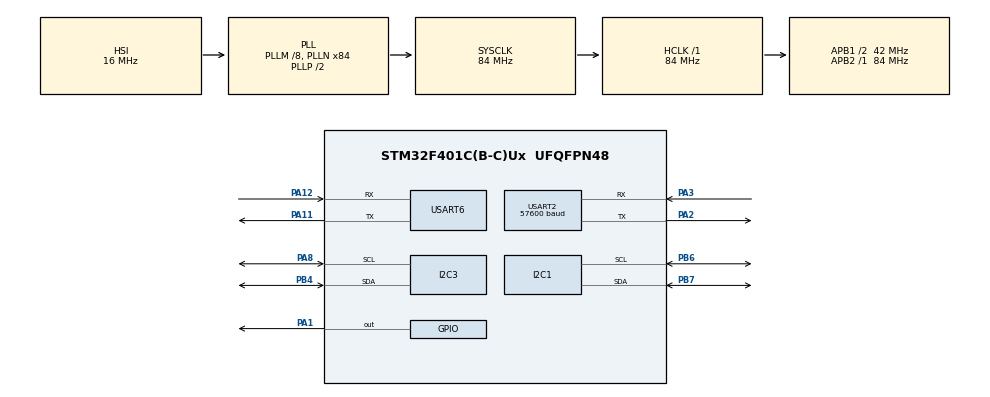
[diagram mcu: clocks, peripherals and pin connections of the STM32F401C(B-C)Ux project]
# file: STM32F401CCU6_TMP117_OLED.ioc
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I2C1.I2C_Mode=I2C_Fast
Mcu.Family=STM32F4
Mcu.Name=STM32F401C(B-C)Ux
Mcu.Package=UFQFPN48
NVIC.PriorityGroup=NVIC_PRIORITYGROUP_4
NVIC.USART2_IRQn=true\:1\:0\:true\:false\:true\:true\:true\:true
NVIC.USART6_IRQn=true\:0\:0\:true\:false\:true\:true\:true\:true
PA1.PinState=GPIO_PIN_SET
PA1.Signal=GPIO_Output
PA11.Mode=Asynchronous
PA11.Signal=USART6_TX
PA12.Mode=Asynchronous
PA12.Signal=USART6_RX
PA13.Mode=Serial_Wire
PA13.Signal=SYS_JTMS-SWDIO
PA14.Mode=Serial_Wire
PA14.Signal=SYS_JTCK-SWCLK
PA2.Mode=Asynchronous
PA2.Signal=USART2_TX
PA3.Mode=Asynchronous
PA3.Signal=USART2_RX
PA8.Mode=I2C
PA8.Signal=I2C3_SCL
PB4.Mode=I2C
PB4.Signal=I2C3_SDA
PB6.Mode=I2C
PB6.Signal=I2C1_SCL
PB7.Mode=I2C
PB7.Signal=I2C1_SDA
PH0\ -\ OSC_IN.Mode=HSE-External-Oscillator
PH0\ -\ OSC_IN.Signal=RCC_OSC_IN
PH1\ -\ OSC_OUT.Mode=HSE-External-Oscillator
PH1\ -\ OSC_OUT.Signal=RCC_OSC_OUT
ProjectManager.HeapSize=0x200
ProjectManager.StackSize=0x400
ProjectManager.TargetToolchain=MDK-ARM V5.32
RCC.48MHZClocksFreq_Value=42000000
RCC.AHBFreq_Value=84000000
RCC.APB1CLKDivider=RCC_HCLK_DIV2
RCC.APB1Freq_Value=42000000
RCC.APB1TimFreq_Value=84000000
RCC.APB2Freq_Value=84000000
RCC.APB2TimFreq_Value=84000000
RCC.CortexFreq_Value=84000000
RCC.HCLKFreq_Value=84000000
RCC.HSE_VALUE=25000000
RCC.HSI_VALUE=16000000
RCC.LSE_VALUE=32768
RCC.PLLM=8
RCC.PLLN=84
RCC.SYSCLKFreq_VALUE=84000000
RCC.SYSCLKSource=RCC_SYSCLKSOURCE_PLLCLK
RCC.VCOOutputFreq_Value=168000000
USART2.BaudRate=57600
USART2.VirtualMode=VM_ASYNC
USART6.VirtualMode=VM_ASYNC
board=custom

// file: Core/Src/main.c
/* USER CODE BEGIN Header */
/**
 ******************************************************************************
 * @file           : main.c
 * @brief          : 调温服 V4.1
 ******************************************************************************
 */
/* USER CODE END Header */
#include "main.h"
#include "i2c.h"
#include "usart.h"
#include "gpio.h"

/* USER CODE BEGIN Includes */
#include "oled.h"
#include <string.h>
#include <stdlib.h>
/* USER CODE END Includes */

/* USER CODE BEGIN PTD */
// --- 命令类型枚举 (用于解析 M207 协议) ---
enum CMDTYPE
{
    CMDTYPE_SETTING,
    CMDTYPE_POLLING,
    CMDTYPE_SAVING,
    CMDTYPE_CHANGING,
    CMDTYPE_ERROR
};
/* USER CODE END PTD */

/* USER CODE BEGIN PD */
#define MAX_RX_LEN 64
/* USER CODE END PD */

/* USER CODE BEGIN PV */
// --- UART 接收相关全局变量 ---
char rx_buffer[MAX_RX_LEN];
uint8_t rx_index = 0;
uint8_t rx_byte;
uint8_t rx_flag = 0;
// 全局变量，记录uart6最后一次收到字节的时间
uint32_t uart6_last_rx_time = 0;
// UART6接收缓冲区大小
#define UART6_RX_BUF_SIZE 256
uint8_t uart6_rx_buf[UART6_RX_BUF_SIZE];
volatile uint16_t uart6_rx_len = 0;       // 已接收数据长度
volatile uint8_t uart6_rx_frame_flag = 0; // 一帧数据接收完成标志
// --- 核心温度数据全局变量 ---
float tc1_water_temp = 0.0f;      // 贴身水箱实际温度 (后台运行，不显示)
float tc2_water_temp = 0.0f;      // 环境水箱实际温度 (后台运行，不显示)
float tc1_water_temp_set = 25.0f; // 贴身水箱设定温度 (可通过电脑指令设置，后台运行)
float tc2_water_temp_set = 25.0f; // 环境水箱设定温度 (可通过电脑指令设置，后台运行)

// --- 调温控制参数 ---
float target_hot = 37.5f;      // 人体过热阈值
float target_cold = 36.5f;     // 人体过冷阈值
float hysteresis = 0.2f;       // 回差防抖
unsigned char display_buf[10]; // 替代 sprintf 的纯净显示缓存
int t_int, t_frac;
/* USER CODE END PV */

void SystemClock_Config(void);
/* USER CODE BEGIN PFP */
void Process_M207_Reply(void);
enum CMDTYPE ProtocolAnalysis(char *comstr, int comstrlength, char *modulestr, char *paramstr, char *valuestr);
void Send_M207_Cmd(char *cmd);
void Process_PCtoM207(void);
/* USER CODE END PFP */

int main(void)
{

    /* MCU Configuration--------------------------------------------------------*/

    /* Reset of all peripherals, Initializes the Flash interface and the Systick. */
    HAL_Init();

    /* Configure the system clock */
    SystemClock_Config();

    /* Initialize all configured peripherals */
    MX_GPIO_Init();
    MX_I2C1_Init();
    MX_I2C3_Init();
    MX_USART2_UART_Init();
    MX_USART6_UART_Init();
    /* USER CODE BEGIN 2 */

    ///__HAL_UART_ENABLE_IT(&huart6, UART_IT_IDLE);
    HAL_UART_Receive_IT(&huart6, &uart6_rx_buf[0], 1);

    // 1. 初始化 OLED 并清屏
    OLED_Init();
    OLED_CLS();

    // 第一行
    OLED_ShowCN(0, 0, 3);  // 设
    OLED_ShowCN(16, 0, 4); // 定
    OLED_ShowCN(32, 0, 0); // 温
    OLED_ShowCN(48, 0, 1); // 度
    OLED_ShowStr(64, 0, (unsigned char *)"1", 2);
    OLED_ShowStr(72, 0, (unsigned char *)":", 2);
    OLED_ShowCN(112, 0, 7); // ℃

    float temp = tc1_water_temp_set;
    if (temp < 0)
        temp = 0;                        // 负数保护，和参考逻辑完全一致，避免异常负温乱码
    t_int = (int)temp;                   // 拆分整数部分
    t_frac = (int)((temp - t_int) * 10); // 仅取1位小数

    display_buf[0] = (t_int / 10) + '0'; // 整数部分：十位
    display_buf[1] = (t_int % 10) + '0'; // 整数部分：个位
    display_buf[2] = '.';                // 小数点
    display_buf[3] = t_frac + '0';       // 小数部分：仅保留1位

    OLED_ShowStr(80, 0, display_buf, 2);

    // 第二行
    OLED_ShowCN(0, 2, 3);  // 设
    OLED_ShowCN(16, 2, 4); // 定
    OLED_ShowCN(32, 2, 0); // 温
    OLED_ShowCN(48, 2, 1); // 度
    OLED_ShowStr(64, 2, (unsigned char *)"2", 2);
    OLED_ShowStr(72, 2, (unsigned char *)":", 2);
    OLED_ShowCN(112, 2, 7); // ℃
    temp = tc2_water_temp_set;
    if (temp < 0)
        temp = 0;
    t_int = (int)temp;
    t_frac = (int)((temp - t_int) * 10);

    // 填充TC2的显示缓冲区
    display_buf[0] = (t_int / 10) + '0';
    display_buf[1] = (t_int % 10) + '0';
    display_buf[2] = '.';
    display_buf[3] = t_frac + '0';

    // 显示TC2：
    OLED_ShowStr(80, 2, display_buf, 2);

    // 第三行
    OLED_ShowCN(0, 4, 5);  // 实
    OLED_ShowCN(16, 4, 6); // 际
    OLED_ShowCN(32, 4, 0); // 温
    OLED_ShowCN(48, 4, 1); // 度
    OLED_ShowStr(64, 4, (unsigned char *)"1", 2);
    OLED_ShowStr(72, 4, (unsigned char *)":", 2);
    OLED_ShowCN(112, 4, 7); // ℃
    // 第四行
    OLED_ShowCN(0, 6, 5);  // 实
    OLED_ShowCN(16, 6, 6); // 际
    OLED_ShowCN(32, 6, 0); // 温
    OLED_ShowCN(48, 6, 1); // 度
    OLED_ShowStr(64, 6, (unsigned char *)"2", 2);
    OLED_ShowStr(72, 6, (unsigned char *)":", 2);
    OLED_ShowCN(112, 6, 7); // ℃

    // 3. 开启第一次串口中断接收 (准备接收 M207 数据)
    HAL_UART_Receive_IT(&huart2, &rx_byte, 1);

    // 4. 定义局部测温和纯数学显示变量
    /// uint8_t rx_data[2];
    /// int16_t raw_temp = 0;
    /// float real_temp = 0.0;

    /* USER CODE END 2 */

    /* Infinite loop */
    /* USER CODE BEGIN WHILE */
    while (1)
    {
        // ==================== 超时判断帧结束！解决一直等字节的问题 ====================
        if (uart6_rx_frame_flag == 0 && uart6_rx_len > 0)
        {
            // 如果超过10ms没收到新字节，就认为收完了
            if (HAL_GetTick() - uart6_last_rx_time > 10)
            {
                uart6_rx_frame_flag = 1; // 手动标记帧完成
            }
        }

        // ==================== 1. 处理串口残留数据  ====================
        if (rx_flag == 1)
        {
            Process_M207_Reply();
            rx_flag = 0;
            HAL_UART_Receive_IT(&huart2, &rx_byte, 1);
        }

        // ==================== 2. 轮询 M207  ====================
        Send_M207_Cmd("TC1:TCACTTEMP?\r");
        HAL_Delay(50);
        if (rx_flag == 1)
        {
            Process_M207_Reply();
            rx_flag = 0;
            HAL_UART_Receive_IT(&huart2, &rx_byte, 1);
        }

        // --------------------------
        // 1. 处理并显示 TC1 水温
        // --------------------------
        float temp = tc1_water_temp;
        if (temp < 0)
            temp = 0;                        // 负数保护，和参考逻辑完全一致，避免异常负温乱码
        t_int = (int)temp;                   // 拆分整数部分
        t_frac = (int)((temp - t_int) * 10); // 仅取1位小数

        display_buf[0] = (t_int / 10) + '0'; // 整数部分：十位
        display_buf[1] = (t_int % 10) + '0'; // 整数部分：个位
        display_buf[2] = '.';                // 小数点
        display_buf[3] = t_frac + '0';       // 小数部分：仅保留1位

        // 显示TC1：

        OLED_ShowStr(80, 4, display_buf, 2);

        Send_M207_Cmd("TC2:TCACTTEMP?\r");
        HAL_Delay(50);
        if (rx_flag == 1)
        {
            Process_M207_Reply();
            rx_flag = 0;
            HAL_UART_Receive_IT(&huart2, &rx_byte, 1);
        }

        // --------------------------
        // 2. 处理并显示 TC2 水温，完全相同的逻辑
        // --------------------------
        temp = tc2_water_temp;
        if (temp < 0)
            temp = 0;
        t_int = (int)temp;
        t_frac = (int)((temp - t_int) * 10);

        // 填充TC2的显示缓冲区
        display_buf[0] = (t_int / 10) + '0';
        display_buf[1] = (t_int % 10) + '0';
        display_buf[2] = '.';
        display_buf[3] = t_frac + '0';

        OLED_ShowStr(80, 6, display_buf, 2);

        if (uart6_rx_frame_flag == 1)
        {
            // 1. 数据预处理：小写转大写
            for (uint16_t i = 0; i < uart6_rx_len; i++)
            {
                if (uart6_rx_buf[i] >= 'a' && uart6_rx_buf[i] <= 'z')
                {
                    uart6_rx_buf[i] -= 0x20;
                }
            }

            // 2. 添加结束符 0x0D (\r)
            if (uart6_rx_len < UART6_RX_BUF_SIZE - 1)
            {
                uart6_rx_buf[uart6_rx_len] = 0x0D;
                uart6_rx_len++;
            }

            // ========== 处理业务 ==========
            Process_PCtoM207();

            // ========== 发送前清错误，避免卡死 ==========
            if (__HAL_UART_GET_FLAG(&huart2, UART_FLAG_ORE) != RESET)
            {
                __HAL_UART_CLEAR_OREFLAG(&huart2);
            }
            HAL_UART_Transmit(&huart2, uart6_rx_buf, uart6_rx_len, 100);

            // ========== 重置状态 ==========
            uart6_rx_len = 0;
            uart6_rx_frame_flag = 0;
        }

        HAL_Delay(250); // 补齐循环时间
        /* USER CODE END WHILE */

    }
}

void SystemClock_Config(void)
{
    RCC_OscInitTypeDef RCC_OscInitStruct = {0};
    RCC_ClkInitTypeDef RCC_ClkInitStruct = {0};

    /** Configure the main internal regulator output voltage
     */
    __HAL_RCC_PWR_CLK_ENABLE();
    __HAL_PWR_VOLTAGESCALING_CONFIG(PWR_REGULATOR_VOLTAGE_SCALE2);

    /** Initializes the RCC Oscillators according to the specified parameters
     * in the RCC_OscInitTypeDef structure.
     */
    RCC_OscInitStruct.OscillatorType = RCC_OSCILLATORTYPE_HSI;
    RCC_OscInitStruct.HSIState = RCC_HSI_ON;
    RCC_OscInitStruct.HSICalibrationValue = RCC_HSICALIBRATION_DEFAULT;
    RCC_OscInitStruct.PLL.PLLState = RCC_PLL_ON;
    RCC_OscInitStruct.PLL.PLLSource = RCC_PLLSOURCE_HSI;
    RCC_OscInitStruct.PLL.PLLM = 8;
    RCC_OscInitStruct.PLL.PLLN = 84;
    RCC_OscInitStruct.PLL.PLLP = RCC_PLLP_DIV2;
    RCC_OscInitStruct.PLL.PLLQ = 4;
    if (HAL_RCC_OscConfig(&RCC_OscInitStruct) != HAL_OK)
    {
        Error_Handler();
    }

    /** Initializes the CPU, AHB and APB buses clocks
     */
    RCC_ClkInitStruct.ClockType = RCC_CLOCKTYPE_HCLK | RCC_CLOCKTYPE_SYSCLK | RCC_CLOCKTYPE_PCLK1 | RCC_CLOCKTYPE_PCLK2;
    RCC_ClkInitStruct.SYSCLKSource = RCC_SYSCLKSOURCE_PLLCLK;
    RCC_ClkInitStruct.AHBCLKDivider = RCC_SYSCLK_DIV1;
    RCC_ClkInitStruct.APB1CLKDivider = RCC_HCLK_DIV2;
    RCC_ClkInitStruct.APB2CLKDivider = RCC_HCLK_DIV1;

    if (HAL_RCC_ClockConfig(&RCC_ClkInitStruct, FLASH_LATENCY_2) != HAL_OK)
    {
        Error_Handler();
    }
}

/* USER CODE BEGIN 4 */
// ==================== 1. 自定义原生串口发送函数 ====================
void Send_M207_Cmd(char *cmd)
{
    HAL_UART_Transmit(&huart2, (uint8_t *)cmd, strlen(cmd), 10);
}

// ==================== 2. 串口接收中断回调函数 ====================
void HAL_UART_RxCpltCallback(UART_HandleTypeDef *huart)
{
    if (huart->Instance == USART2)
    {
        rx_buffer[rx_index++] = rx_byte;
        if (rx_byte == '\r' || rx_index >= MAX_RX_LEN - 1)
        {
            rx_buffer[rx_index] = '\0';
            rx_flag = 1;
            rx_index = 0;
        }
        else
        {
            HAL_UART_Receive_IT(huart, &rx_byte, 1);
        }
    }
    if (huart->Instance == USART6)
    {
        // 溢出保护
        if (uart6_rx_len < UART6_RX_BUF_SIZE - 1)
        {
            uart6_rx_len++;
        }
        // 重点！每收到一个字节，就更新最后接收时间！
        uart6_last_rx_time = HAL_GetTick();

        // 自动开启下一个字节的接收
        HAL_UART_Receive_IT(&huart6, &uart6_rx_buf[uart6_rx_len], 1);
    }
}

/**
 * @brief  重写USART6的中断服务函数
 * @param  None
 * @retval None
 */
void USART6_IRQHandler(void)
{
    // ==================== 1. 先处理溢出错误，避免锁死 ====================
    // 这是你之前卡住的核心原因：溢出错误会导致空闲中断再也触发不了
    if (__HAL_UART_GET_FLAG(&huart6, UART_FLAG_ORE) != RESET)
    {
        __HAL_UART_CLEAR_OREFLAG(&huart6); // 清溢出错误标志
        // 出错了直接重置接收状态，避免len一直涨
        uart6_rx_len = 0;
        uart6_rx_frame_flag = 0;
        // 重新初始化接收
        HAL_UART_Receive_IT(&huart6, &uart6_rx_buf[0], 1);
        return;
    }

    // ==================== 2. 先检测空闲中断，再调用HAL处理 ====================
    // （调整顺序，避免HAL处理把空闲标志清掉）
    if (__HAL_UART_GET_FLAG(&huart6, UART_FLAG_IDLE) != RESET)
    {
        __HAL_UART_CLEAR_IDLEFLAG(&huart6); // 清空闲中断标志

        // ==================== 加溢出保护！解决len一直涨的问题 ====================
        if (uart6_rx_len >= UART6_RX_BUF_SIZE - 1)
        {
            // 如果缓冲区满了，直接重置，避免len一直加
            uart6_rx_len = 0;
            uart6_rx_frame_flag = 0;
        }
        else
        {
            // 正常标记帧完成
            uart6_rx_frame_flag = 1;
        }
    }

    // ==================== 3. 最后调用HAL标准处理 ====================
    HAL_UART_IRQHandler(&huart6);
}
// ==================== 3. 核心协议解析函数 ====================
enum CMDTYPE ProtocolAnalysis(char *comstr, int comstrlength, char *modulestr, char *paramstr, char *valuestr)
{
    int ix;
    uint8_t colonflag = 0;
    uint8_t modulelength = 0, paramlength = 0, valuelength = 0;
    enum CMDTYPE cmdtype = CMDTYPE_ERROR;

    for (ix = 0; ix < comstrlength; ix++)
    {
        switch (comstr[ix])
        {
        case ':':
            modulelength = ix;
            colonflag = 1;
            break;
        case '?':
            paramlength = ix;
            cmdtype = CMDTYPE_POLLING;
            break;
        case '=':
            paramlength = ix;
            cmdtype = CMDTYPE_SETTING;
            break;
        }
    }

    if (colonflag != 1 || cmdtype == CMDTYPE_ERROR)
        return CMDTYPE_ERROR;

    valuelength = (comstrlength - 1) - paramlength - 1;
    paramlength = paramlength - modulelength - 1;

    for (ix = 0; ix < modulelength; ix++)
        modulestr[ix] = comstr[ix];
    modulestr[modulelength] = '\0';

    for (ix = 0; ix < paramlength; ix++)
        paramstr[ix] = comstr[ix + 1 + modulelength];
    paramstr[paramlength] = '\0';

    if (cmdtype == CMDTYPE_SETTING)
    {
        for (ix = 0; ix < valuelength; ix++)
            valuestr[ix] = comstr[ix + 1 + modulelength + 1 + paramlength];
        valuestr[valuelength] = '\0';
    }
    return cmdtype;
}

// ==================== 4. 数据包清洗与变量更新函数 ====================
void Process_M207_Reply(void)
{
    char modulestr[20] = {0};
    char paramstr[20] = {0};
    char valuestr[20] = {0};

    int len = strlen(rx_buffer);

    if (ProtocolAnalysis(rx_buffer, len, modulestr, paramstr, valuestr) == CMDTYPE_SETTING)
    {
        if (strcmp(paramstr, "TCACTTEMP") == 0)
        {
            float temp_val = atof(valuestr);
            if (strcmp(modulestr, "TC1") == 0)
                tc1_water_temp = temp_val;

            else if (strcmp(modulestr, "TC2") == 0)
                tc2_water_temp = temp_val;
        }
    }
}
void Process_PCtoM207(void)
{
    char modulestr[20] = {0};
    char paramstr[20] = {0};
    char valuestr[20] = {0};

    int len = strlen((char *)uart6_rx_buf);

    if (ProtocolAnalysis((char *)uart6_rx_buf, len, modulestr, paramstr, valuestr) == CMDTYPE_SETTING)
    {
        if (strcmp(paramstr, "TCADJTEMP") == 0)
        {
            float temp_val_set = atof(valuestr);
            if (strcmp(modulestr, "TC1") == 0)
            {
                tc1_water_temp_set = temp_val_set;
                float temp = tc1_water_temp_set;
                if (temp < 0)
                    temp = 0;                        // 负数保护，和参考逻辑完全一致，避免异常负温乱码
                t_int = (int)temp;                   // 拆分整数部分
                t_frac = (int)((temp - t_int) * 10); // 仅取1位小数

                display_buf[0] = (t_int / 10) + '0'; // 整数部分：十位
                display_buf[1] = (t_int % 10) + '0'; // 整数部分：个位
                display_buf[2] = '.';                // 小数点
                display_buf[3] = t_frac + '0';       // 小数部分：仅保留1位

                // 显示TC1：
                OLED_ShowStr(80, 0, display_buf, 2);
            }
            else if (strcmp(modulestr, "TC2") == 0)
            {
                tc2_water_temp_set = temp_val_set;
                float temp = tc2_water_temp_set;
                if (temp < 0)
                    temp = 0;
                t_int = (int)temp;
                t_frac = (int)((temp - t_int) * 10);

                // 填充TC2的显示缓冲区
                display_buf[0] = (t_int / 10) + '0';
                display_buf[1] = (t_int % 10) + '0';
                display_buf[2] = '.';
                display_buf[3] = t_frac + '0';

                // 显示TC2：坐标为示例值，这里默认放在 第二行最左侧 (y=16对应12864 OLED的第二行，16x16字体的行高)
                // 如果你想让两个温度在同一行左右排列，可改为 x=40, y=0
                OLED_ShowStr(80, 2, display_buf, 2);
            }
        }
    }
}
/* USER CODE END 4 */

void Error_Handler(void)
{
    __disable_irq();
    while (1)
    {
    }
}

// ==================== 3. 读取 TMP117 与 UI 极简刷新 ====================
// if (HAL_I2C_Mem_Read(&hi2c3, 0x90, 0x00, I2C_MEMADD_SIZE_8BIT, rx_data, 2, 100) == HAL_OK)
// {
//     raw_temp = (rx_data[0] << 8) | rx_data[1];
//     real_temp = raw_temp * 0.0078125f;

//     // --- 纯数学拆解刷新 OLED：仅显示体温 ---
//     if (real_temp < 0)
//         real_temp = 0;
//     t_int = (int)real_temp;
//     t_frac = (int)((real_temp - t_int) * 10);

//     display_buf[0] = (t_int / 10) + '0';
//     display_buf[1] = (t_int % 10) + '0';
//     display_buf[2] = '.';
//     display_buf[3] = t_frac + '0';

//     OLED_ShowStr(80, 0, display_buf, 2);
//  移除了 Tank1 和 Tank2 的动态显示代码

// --- 调温服热泵智能控制逻辑 (联动 M207 和 光耦风扇，完全保留！) ---
// if (real_temp > (target_hot + hysteresis))
// {
//     HAL_GPIO_WritePin(GPIOA, GPIO_PIN_1, GPIO_PIN_RESET); // 开风扇
//     Send_M207_Cmd("TC1:TCADJUSTTEMP=15.0\r");             // 设定制冷
//     HAL_Delay(50);
//     Send_M207_Cmd("TC1:TCSW=1\r"); // 启动TEC
// }
// else if (real_temp < (target_cold - hysteresis))
// {
//     HAL_GPIO_WritePin(GPIOA, GPIO_PIN_1, GPIO_PIN_RESET); // 开风扇
//     Send_M207_Cmd("TC1:TCADJUSTTEMP=45.0\r");             // 设定制热
//     HAL_Delay(50);
//     Send_M207_Cmd("TC1:TCSW=1\r"); // 启动TEC
// }
// else if (real_temp >= (target_cold - hysteresis) && real_temp <= (target_hot + hysteresis))
// {
//     HAL_GPIO_WritePin(GPIOA, GPIO_PIN_1, GPIO_PIN_SET); // 关风扇
//     Send_M207_Cmd("TC1:TCSW=0\r");                      // 停机待命
// }

// else
// {
//     // ========= 安全网：如果 TMP117 断线，立刻在极简UI上报警并停机 =========
//     OLED_ShowStr(48, 0, (unsigned char *)"ERR!    ", 2);

//     // 强制关风扇，关 TEC，切断输出防止失控 (安全功能完全保留！)
//     HAL_GPIO_WritePin(GPIOA, GPIO_PIN_1, GPIO_PIN_SET);
//     Send_M207_Cmd("TC1:TCSW=0\r");
// }
